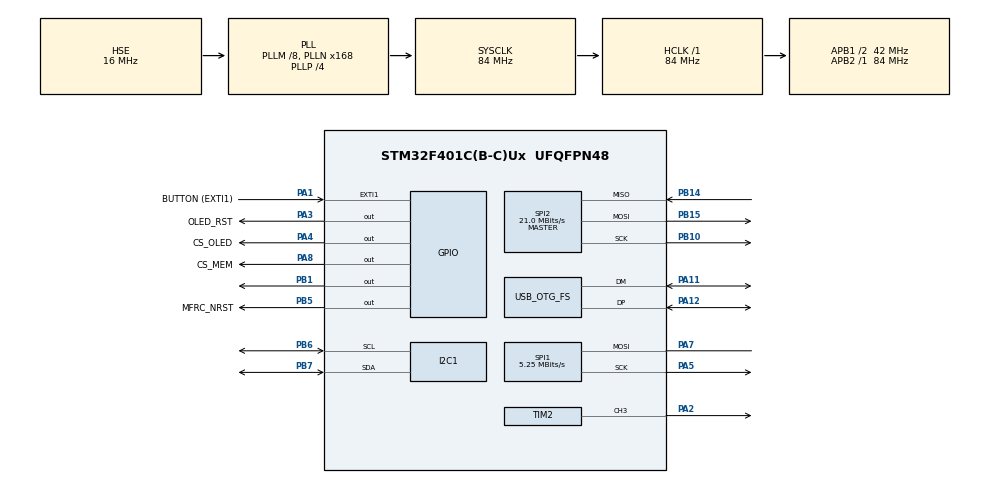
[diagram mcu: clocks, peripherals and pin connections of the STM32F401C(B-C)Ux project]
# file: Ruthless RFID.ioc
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FREERTOS.Queues01=UidtoFound,1,Card*,0,Dynamic,NULL,NULL;UserInput,1,uint8_t,0,Dynamic,NULL,NULL;FileEntry,1,uint16_t,0,Dynamic,NULL,NULL;KeyboardOut,1,char*,0,Dynamic,NULL,NULL;USBInput,1,char,0,Dynamic,NULL,NULL
FREERTOS.Tasks01=PERIPHINIT,40,512,Start_Init,Default,NULL,Dynamic,NULL,NULL;ReadCard,24,512,StartReadCard,Default,NULL,Dynamic,NULL,NULL;WriteCard,24,512,StartWriteCard,Default,NULL,Dynamic,NULL,NULL;Home,24,512,StartHome,Default,NULL,Dynamic,NULL,NULL;CardFound,24,512,CardFoundStart,Default,NULL,Dynamic,NULL,NULL;ShowFiles,24,512,StartShowFiles,Default,NULL,Dynamic,NULL,NULL;ShowFileData,24,512,StartShowFileData,Default,NULL,Dynamic,NULL,NULL;Clone,24,512,StartClone,Default,NULL,Dynamic,NULL,NULL;Keyboard,8,512,StartKeyboard,Default,NULL,Dynamic,NULL,NULL;DisplaySettings,24,512,StartDisplaySettings,Default,NULL,Dynamic,NULL,NULL;Stats,24,512,StartStats,Default,NULL,Dynamic,NULL,NULL;USBListen,24,512,StartUSBListen,Default,NULL,Dynamic,NULL,NULL
FREERTOS.configMAX_TASK_NAME_LEN=30
FREERTOS.configMINIMAL_STACK_SIZE=256
FREERTOS.configTOTAL_HEAP_SIZE=30000
Mcu.Family=STM32F4
Mcu.Name=STM32F401C(B-C)Ux
Mcu.Package=UFQFPN48
NVIC.EXTI1_IRQn=true\:5\:0\:false\:false\:true\:true\:true\:true\:true
NVIC.OTG_FS_IRQn=true\:5\:0\:false\:false\:true\:true\:false\:true\:true
NVIC.PriorityGroup=NVIC_PRIORITYGROUP_4
NVIC.TIM5_IRQn=true\:15\:0\:false\:false\:true\:false\:false\:true\:true
NVIC.TimeBase=TIM5_IRQn
NVIC.TimeBaseIP=TIM5
PA1.GPIO_Label=BUTTON (EXTI1)
PA1.GPIO_ModeDefaultEXTI=GPIO_MODE_IT_RISING_FALLING
PA1.Signal=GPXTI1
PA11.Mode=Device_Only
PA11.Signal=USB_OTG_FS_DM
PA12.Mode=Device_Only
PA12.Signal=USB_OTG_FS_DP
PA13.Mode=Serial_Wire
PA13.Signal=SYS_JTMS-SWDIO
PA14.Mode=Serial_Wire
PA14.Signal=SYS_JTCK-SWCLK
PA2.Signal=S_TIM2_CH3
PA3.GPIO_Label=OLED_RST
PA3.Signal=GPIO_Output
PA4.GPIO_Label=CS_OLED
PA4.Signal=GPIO_Output
PA5.Mode=Simplex_Bidirectional_Master
PA5.Signal=SPI1_SCK
PA7.Mode=Simplex_Bidirectional_Master
PA7.Signal=SPI1_MOSI
PA8.GPIO_Label=CS_MEM
PA8.Signal=GPIO_Output
PB1.Signal=GPIO_Output
PB10.Mode=Full_Duplex_Master
PB10.Signal=SPI2_SCK
PB14.Mode=Full_Duplex_Master
PB14.Signal=SPI2_MISO
PB15.Mode=Full_Duplex_Master
PB15.Signal=SPI2_MOSI
PB5.GPIO_Label=MFRC_NRST
PB5.Signal=GPIO_Output
PB6.Mode=I2C
PB6.Signal=I2C1_SCL
PB7.Mode=I2C
PB7.Signal=I2C1_SDA
PH0\ -\ OSC_IN.Mode=HSE-External-Oscillator
PH0\ -\ OSC_IN.Signal=RCC_OSC_IN
PH1\ -\ OSC_OUT.Mode=HSE-External-Oscillator
PH1\ -\ OSC_OUT.Signal=RCC_OSC_OUT
ProjectManager.HeapSize=0x200
ProjectManager.StackSize=0x400
ProjectManager.TargetToolchain=STM32CubeIDE
RCC.48MHZClocksFreq_Value=48000000
RCC.AHBFreq_Value=84000000
RCC.APB1CLKDivider=RCC_HCLK_DIV2
RCC.APB1Freq_Value=42000000
RCC.APB1TimFreq_Value=84000000
RCC.APB2Freq_Value=84000000
RCC.APB2TimFreq_Value=84000000
RCC.CortexFreq_Value=84000000
RCC.HCLKFreq_Value=84000000
RCC.HSE_VALUE=16000000
RCC.HSI_VALUE=16000000
RCC.LSE_VALUE=32768
RCC.PLLM=8
RCC.PLLN=168
RCC.PLLP=RCC_PLLP_DIV4
RCC.PLLQ=7
RCC.SYSCLKFreq_VALUE=84000000
RCC.SYSCLKSource=RCC_SYSCLKSOURCE_PLLCLK
RCC.VCOOutputFreq_Value=336000000
SH.S_TIM2_CH3.0=TIM2_CH3,PWM Generation3 CH3
SPI1.BaudRatePrescaler=SPI_BAUDRATEPRESCALER_16
SPI1.CalculateBaudRate=5.25 MBits/s
SPI1.Direction=SPI_DIRECTION_1LINE
SPI1.Mode=SPI_MODE_MASTER
SPI1.VirtualType=VM_MASTER
SPI2.CalculateBaudRate=21.0 MBits/s
SPI2.Direction=SPI_DIRECTION_2LINES
SPI2.Mode=SPI_MODE_MASTER
SPI2.VirtualType=VM_MASTER
TIM2.Channel-PWM\ Generation3\ CH3=TIM_CHANNEL_3
TIM2.Period=50-1
TIM2.Prescaler=420-1
TIM2.Pulse-PWM\ Generation3\ CH3=25-1
TIM3.Period=60000-1
TIM3.Prescaler=42000-1
USB_DEVICE.CLASS_NAME_FS=CDC
USB_DEVICE.VirtualMode=Cdc
USB_DEVICE.VirtualModeFS=Cdc_FS
USB_OTG_FS.VirtualMode=Device_Only
VP_FREERTOS_VS_CMSIS_V2.Mode=CMSIS_V2
VP_SYS_VS_tim5.Mode=TIM5
VP_TIM2_VS_ClockSourceINT.Mode=Internal
VP_TIM3_VS_ClockSourceINT.Mode=Internal
VP_USB_DEVICE_VS_USB_DEVICE_CDC_FS.Mode=CDC_FS
board=custom

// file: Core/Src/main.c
/* USER CODE BEGIN Header */
/**
  ******************************************************************************
  * @file           : main.c
  * @brief          : Main program body
  ******************************************************************************
  * @attention
  *
  * Copyright (c) 2024 STMicroelectronics.
  * All rights reserved.
  *
  * This software is licensed under terms that can be found in the LICENSE file
  * in the root directory of this software component.
  * If no LICENSE file comes with this software, it is provided AS-IS.
  *
  ******************************************************************************
  */
/* USER CODE END Header */
#include "main.h"
#include "cmsis_os.h"
#include "usb_device.h"

/* USER CODE BEGIN Includes */
#include "usbd_cdc_if.h"
#include "MFRC.h"
#include "OLED.h"
#include "queue.h"
#include "W25N01GVZEIG.h"
#include "ruthlessfs.h"
#include "button.h"
#include "commands.h"
#include "terminal.h"
/* USER CODE END Includes */

I2C_HandleTypeDef hi2c1;

SPI_HandleTypeDef hspi1;
SPI_HandleTypeDef hspi2;

TIM_HandleTypeDef htim2;
TIM_HandleTypeDef htim3;

/* Definitions for PERIPHINIT */
osThreadId_t PERIPHINITHandle;
const osThreadAttr_t PERIPHINIT_attributes = {
  .name = "PERIPHINIT",
  .stack_size = 512 * 4,
  .priority = (osPriority_t) osPriorityHigh,
};
/* Definitions for ReadCard */
osThreadId_t ReadCardHandle;
const osThreadAttr_t ReadCard_attributes = {
  .name = "ReadCard",
  .stack_size = 512 * 4,
  .priority = (osPriority_t) osPriorityNormal,
};
/* Definitions for WriteCard */
osThreadId_t WriteCardHandle;
const osThreadAttr_t WriteCard_attributes = {
  .name = "WriteCard",
  .stack_size = 512 * 4,
  .priority = (osPriority_t) osPriorityNormal,
};
/* Definitions for Home */
osThreadId_t HomeHandle;
const osThreadAttr_t Home_attributes = {
  .name = "Home",
  .stack_size = 512 * 4,
  .priority = (osPriority_t) osPriorityNormal,
};
/* Definitions for CardFound */
osThreadId_t CardFoundHandle;
const osThreadAttr_t CardFound_attributes = {
  .name = "CardFound",
  .stack_size = 512 * 4,
  .priority = (osPriority_t) osPriorityNormal,
};
/* Definitions for ShowFiles */
osThreadId_t ShowFilesHandle;
const osThreadAttr_t ShowFiles_attributes = {
  .name = "ShowFiles",
  .stack_size = 512 * 4,
  .priority = (osPriority_t) osPriorityNormal,
};
/* Definitions for ShowFileData */
osThreadId_t ShowFileDataHandle;
const osThreadAttr_t ShowFileData_attributes = {
  .name = "ShowFileData",
  .stack_size = 512 * 4,
  .priority = (osPriority_t) osPriorityNormal,
};
/* Definitions for Clone */
osThreadId_t CloneHandle;
const osThreadAttr_t Clone_attributes = {
  .name = "Clone",
  .stack_size = 512 * 4,
  .priority = (osPriority_t) osPriorityNormal,
};
/* Definitions for Keyboard */
osThreadId_t KeyboardHandle;
const osThreadAttr_t Keyboard_attributes = {
  .name = "Keyboard",
  .stack_size = 512 * 4,
  .priority = (osPriority_t) osPriorityLow,
};
/* Definitions for DisplaySettings */
osThreadId_t DisplaySettingsHandle;
const osThreadAttr_t DisplaySettings_attributes = {
  .name = "DisplaySettings",
  .stack_size = 512 * 4,
  .priority = (osPriority_t) osPriorityNormal,
};
/* Definitions for Stats */
osThreadId_t StatsHandle;
const osThreadAttr_t Stats_attributes = {
  .name = "Stats",
  .stack_size = 512 * 4,
  .priority = (osPriority_t) osPriorityNormal,
};
/* Definitions for USBListen */
osThreadId_t USBListenHandle;
const osThreadAttr_t USBListen_attributes = {
  .name = "USBListen",
  .stack_size = 512 * 4,
  .priority = (osPriority_t) osPriorityNormal,
};
/* Definitions for UidtoFound */
osMessageQueueId_t UidtoFoundHandle;
const osMessageQueueAttr_t UidtoFound_attributes = {
  .name = "UidtoFound"
};
/* Definitions for UserInput */
osMessageQueueId_t UserInputHandle;
const osMessageQueueAttr_t UserInput_attributes = {
  .name = "UserInput"
};
/* Definitions for FileEntry */
osMessageQueueId_t FileEntryHandle;
const osMessageQueueAttr_t FileEntry_attributes = {
  .name = "FileEntry"
};
/* Definitions for KeyboardOut */
osMessageQueueId_t KeyboardOutHandle;
const osMessageQueueAttr_t KeyboardOut_attributes = {
  .name = "KeyboardOut"
};
/* Definitions for USBInput */
osMessageQueueId_t USBInputHandle;
const osMessageQueueAttr_t USBInput_attributes = {
  .name = "USBInput"
};
/* USER CODE BEGIN PV */
char TC[]="HVE strongly condemns malicious use of it's products.The Ruthless RFID is sold as an educational device. HVE is not liable for damages caused by misuse.";

typedef struct {
	int id;
	char name[100];
}message;
/* USER CODE END PV */

void SystemClock_Config(void);
static void MX_GPIO_Init(void);
static void MX_I2C1_Init(void);
static void MX_SPI1_Init(void);
static void MX_SPI2_Init(void);
static void MX_TIM2_Init(void);
static void MX_TIM3_Init(void);
void Start_Init(void *argument);
void StartReadCard(void *argument);
void StartWriteCard(void *argument);
void StartHome(void *argument);
void CardFoundStart(void *argument);
void StartShowFiles(void *argument);
void StartShowFileData(void *argument);
void StartClone(void *argument);
void StartKeyboard(void *argument);
void StartDisplaySettings(void *argument);
void StartStats(void *argument);
void StartUSBListen(void *argument);

/* USER CODE BEGIN 0 */

void BUZZ(void){
	HAL_TIM_PWM_Start(&htim2, TIM_CHANNEL_3);
	HAL_Delay(1000);
	HAL_TIM_PWM_Stop(&htim2, TIM_CHANNEL_3);
}

void write_card(Card* towrite) {
	OLED_Clear();
	MFRC_ANTON();
	OLED_PrintCent(2, "Writing...", NORMAL);
	if (UL_writecard(towrite) == PCD_NO_PICC) {
		OLED_PrintCent(4, "ERROR: Couldn't find", NORMAL);
		OLED_PrintCent(6, "Card", NORMAL);
		MFRC_ANTOFF();
		osDelay(2000);
		vTaskResume(HomeHandle);
		vTaskSuspend(NULL);
	} else {
		MFRC_HALTA(); //Deselect card
		OLED_PrintCent(4,"Verifying...", NORMAL);
		if (UL_verify(towrite) == PCD_OK) {
			OLED_PrintCent(6, "Write verified :)", NORMAL);
		} else {
			OLED_PrintCent(6, "COULDN'T VERIFY", NORMAL);
		}
		MFRC_ANTOFF();
		osDelay(1000);
		vTaskResume(HomeHandle);
		vTaskSuspend(NULL);
	}
}

/* USER CODE END 0 */

int main(void)
{

  /* MCU Configuration--------------------------------------------------------*/

  /* Reset of all peripherals, Initializes the Flash interface and the Systick. */
  HAL_Init();

  /* Configure the system clock */
  SystemClock_Config();

  /* Initialize all configured peripherals */
  MX_GPIO_Init();
  MX_I2C1_Init();
  MX_SPI1_Init();
  MX_SPI2_Init();
  MX_TIM2_Init();
  MX_TIM3_Init();

  /* Init scheduler */
  osKernelInitialize();

  /* Create the queue(s) */
  /* creation of UidtoFound */
  UidtoFoundHandle = osMessageQueueNew (1, sizeof(Card*), &UidtoFound_attributes);

  /* creation of UserInput */
  UserInputHandle = osMessageQueueNew (1, sizeof(uint8_t), &UserInput_attributes);

  /* creation of FileEntry */
  FileEntryHandle = osMessageQueueNew (1, sizeof(uint16_t), &FileEntry_attributes);

  /* creation of KeyboardOut */
  KeyboardOutHandle = osMessageQueueNew (1, sizeof(char*), &KeyboardOut_attributes);

  /* creation of USBInput */
  USBInputHandle = osMessageQueueNew (1, sizeof(char), &USBInput_attributes);

  /* Create the thread(s) */
  /* creation of PERIPHINIT */
  PERIPHINITHandle = osThreadNew(Start_Init, NULL, &PERIPHINIT_attributes);

  /* creation of ReadCard */
  ReadCardHandle = osThreadNew(StartReadCard, NULL, &ReadCard_attributes);

  /* creation of WriteCard */
  WriteCardHandle = osThreadNew(StartWriteCard, NULL, &WriteCard_attributes);

  /* creation of Home */
  HomeHandle = osThreadNew(StartHome, NULL, &Home_attributes);

  /* creation of CardFound */
  CardFoundHandle = osThreadNew(CardFoundStart, NULL, &CardFound_attributes);

  /* creation of ShowFiles */
  ShowFilesHandle = osThreadNew(StartShowFiles, NULL, &ShowFiles_attributes);

  /* creation of ShowFileData */
  ShowFileDataHandle = osThreadNew(StartShowFileData, NULL, &ShowFileData_attributes);

  /* creation of Clone */
  CloneHandle = osThreadNew(StartClone, NULL, &Clone_attributes);

  /* creation of Keyboard */
  KeyboardHandle = osThreadNew(StartKeyboard, NULL, &Keyboard_attributes);

  /* creation of DisplaySettings */
  DisplaySettingsHandle = osThreadNew(StartDisplaySettings, NULL, &DisplaySettings_attributes);

  /* creation of Stats */
  StatsHandle = osThreadNew(StartStats, NULL, &Stats_attributes);

  /* creation of USBListen */
  USBListenHandle = osThreadNew(StartUSBListen, NULL, &USBListen_attributes);

  /* Start scheduler */
  osKernelStart();
  /* We should never get here as control is now taken by the scheduler */
  /* Infinite loop */
  while (1)
  {

  }
}

void SystemClock_Config(void)
{
  RCC_OscInitTypeDef RCC_OscInitStruct = {0};
  RCC_ClkInitTypeDef RCC_ClkInitStruct = {0};

  /** Configure the main internal regulator output voltage
  */
  __HAL_RCC_PWR_CLK_ENABLE();
  __HAL_PWR_VOLTAGESCALING_CONFIG(PWR_REGULATOR_VOLTAGE_SCALE2);

  /** Initializes the RCC Oscillators according to the specified parameters
  * in the RCC_OscInitTypeDef structure.
  */
  RCC_OscInitStruct.OscillatorType = RCC_OSCILLATORTYPE_HSE;
  RCC_OscInitStruct.HSEState = RCC_HSE_ON;
  RCC_OscInitStruct.PLL.PLLState = RCC_PLL_ON;
  RCC_OscInitStruct.PLL.PLLSource = RCC_PLLSOURCE_HSE;
  RCC_OscInitStruct.PLL.PLLM = 8;
  RCC_OscInitStruct.PLL.PLLN = 168;
  RCC_OscInitStruct.PLL.PLLP = RCC_PLLP_DIV4;
  RCC_OscInitStruct.PLL.PLLQ = 7;
  if (HAL_RCC_OscConfig(&RCC_OscInitStruct) != HAL_OK)
  {
    Error_Handler();
  }

  /** Initializes the CPU, AHB and APB buses clocks
  */
  RCC_ClkInitStruct.ClockType = RCC_CLOCKTYPE_HCLK|RCC_CLOCKTYPE_SYSCLK
                              |RCC_CLOCKTYPE_PCLK1|RCC_CLOCKTYPE_PCLK2;
  RCC_ClkInitStruct.SYSCLKSource = RCC_SYSCLKSOURCE_PLLCLK;
  RCC_ClkInitStruct.AHBCLKDivider = RCC_SYSCLK_DIV1;
  RCC_ClkInitStruct.APB1CLKDivider = RCC_HCLK_DIV2;
  RCC_ClkInitStruct.APB2CLKDivider = RCC_HCLK_DIV1;

  if (HAL_RCC_ClockConfig(&RCC_ClkInitStruct, FLASH_LATENCY_2) != HAL_OK)
  {
    Error_Handler();
  }
}

static void MX_I2C1_Init(void)
{

  hi2c1.Instance = I2C1;
  hi2c1.Init.ClockSpeed = 100000;
  hi2c1.Init.DutyCycle = I2C_DUTYCYCLE_2;
  hi2c1.Init.OwnAddress1 = 0;
  hi2c1.Init.AddressingMode = I2C_ADDRESSINGMODE_7BIT;
  hi2c1.Init.DualAddressMode = I2C_DUALADDRESS_DISABLE;
  hi2c1.Init.OwnAddress2 = 0;
  hi2c1.Init.GeneralCallMode = I2C_GENERALCALL_DISABLE;
  hi2c1.Init.NoStretchMode = I2C_NOSTRETCH_DISABLE;
  if (HAL_I2C_Init(&hi2c1) != HAL_OK)
  {
    Error_Handler();
  }

}

static void MX_SPI1_Init(void)
{

  /* SPI1 parameter configuration*/
  hspi1.Instance = SPI1;
  hspi1.Init.Mode = SPI_MODE_MASTER;
  hspi1.Init.Direction = SPI_DIRECTION_1LINE;
  hspi1.Init.DataSize = SPI_DATASIZE_8BIT;
  hspi1.Init.CLKPolarity = SPI_POLARITY_LOW;
  hspi1.Init.CLKPhase = SPI_PHASE_1EDGE;
  hspi1.Init.NSS = SPI_NSS_SOFT;
  hspi1.Init.BaudRatePrescaler = SPI_BAUDRATEPRESCALER_16;
  hspi1.Init.FirstBit = SPI_FIRSTBIT_MSB;
  hspi1.Init.TIMode = SPI_TIMODE_DISABLE;
  hspi1.Init.CRCCalculation = SPI_CRCCALCULATION_DISABLE;
  hspi1.Init.CRCPolynomial = 10;
  if (HAL_SPI_Init(&hspi1) != HAL_OK)
  {
    Error_Handler();
  }

}

static void MX_SPI2_Init(void)
{

  /* SPI2 parameter configuration*/
  hspi2.Instance = SPI2;
  hspi2.Init.Mode = SPI_MODE_MASTER;
  hspi2.Init.Direction = SPI_DIRECTION_2LINES;
  hspi2.Init.DataSize = SPI_DATASIZE_8BIT;
  hspi2.Init.CLKPolarity = SPI_POLARITY_LOW;
  hspi2.Init.CLKPhase = SPI_PHASE_1EDGE;
  hspi2.Init.NSS = SPI_NSS_SOFT;
  hspi2.Init.BaudRatePrescaler = SPI_BAUDRATEPRESCALER_2;
  hspi2.Init.FirstBit = SPI_FIRSTBIT_MSB;
  hspi2.Init.TIMode = SPI_TIMODE_DISABLE;
  hspi2.Init.CRCCalculation = SPI_CRCCALCULATION_DISABLE;
  hspi2.Init.CRCPolynomial = 10;
  if (HAL_SPI_Init(&hspi2) != HAL_OK)
  {
    Error_Handler();
  }

}

static void MX_TIM2_Init(void)
{

  TIM_ClockConfigTypeDef sClockSourceConfig = {0};
  TIM_MasterConfigTypeDef sMasterConfig = {0};
  TIM_OC_InitTypeDef sConfigOC = {0};

  htim2.Instance = TIM2;
  htim2.Init.Prescaler = 420-1;
  htim2.Init.CounterMode = TIM_COUNTERMODE_UP;
  htim2.Init.Period = 50-1;
  htim2.Init.ClockDivision = TIM_CLOCKDIVISION_DIV1;
  htim2.Init.AutoReloadPreload = TIM_AUTORELOAD_PRELOAD_DISABLE;
  if (HAL_TIM_Base_Init(&htim2) != HAL_OK)
  {
    Error_Handler();
  }
  sClockSourceConfig.ClockSource = TIM_CLOCKSOURCE_INTERNAL;
  if (HAL_TIM_ConfigClockSource(&htim2, &sClockSourceConfig) != HAL_OK)
  {
    Error_Handler();
  }
  if (HAL_TIM_PWM_Init(&htim2) != HAL_OK)
  {
    Error_Handler();
  }
  sMasterConfig.MasterOutputTrigger = TIM_TRGO_RESET;
  sMasterConfig.MasterSlaveMode = TIM_MASTERSLAVEMODE_DISABLE;
  if (HAL_TIMEx_MasterConfigSynchronization(&htim2, &sMasterConfig) != HAL_OK)
  {
    Error_Handler();
  }
  sConfigOC.OCMode = TIM_OCMODE_PWM1;
  sConfigOC.Pulse = 25-1;
  sConfigOC.OCPolarity = TIM_OCPOLARITY_HIGH;
  sConfigOC.OCFastMode = TIM_OCFAST_DISABLE;
  if (HAL_TIM_PWM_ConfigChannel(&htim2, &sConfigOC, TIM_CHANNEL_3) != HAL_OK)
  {
    Error_Handler();
  }
  HAL_TIM_MspPostInit(&htim2);

}

static void MX_TIM3_Init(void)
{

  TIM_ClockConfigTypeDef sClockSourceConfig = {0};
  TIM_MasterConfigTypeDef sMasterConfig = {0};

  htim3.Instance = TIM3;
  htim3.Init.Prescaler = 42000-1;
  htim3.Init.CounterMode = TIM_COUNTERMODE_UP;
  htim3.Init.Period = 60000-1;
  htim3.Init.ClockDivision = TIM_CLOCKDIVISION_DIV1;
  htim3.Init.AutoReloadPreload = TIM_AUTORELOAD_PRELOAD_DISABLE;
  if (HAL_TIM_Base_Init(&htim3) != HAL_OK)
  {
    Error_Handler();
  }
  sClockSourceConfig.ClockSource = TIM_CLOCKSOURCE_INTERNAL;
  if (HAL_TIM_ConfigClockSource(&htim3, &sClockSourceConfig) != HAL_OK)
  {
    Error_Handler();
  }
  sMasterConfig.MasterOutputTrigger = TIM_TRGO_RESET;
  sMasterConfig.MasterSlaveMode = TIM_MASTERSLAVEMODE_DISABLE;
  if (HAL_TIMEx_MasterConfigSynchronization(&htim3, &sMasterConfig) != HAL_OK)
  {
    Error_Handler();
  }

}

static void MX_GPIO_Init(void)
{
  GPIO_InitTypeDef GPIO_InitStruct = {0};

  /* GPIO Ports Clock Enable */
  __HAL_RCC_GPIOH_CLK_ENABLE();
  __HAL_RCC_GPIOA_CLK_ENABLE();
  __HAL_RCC_GPIOB_CLK_ENABLE();

  /*Configure GPIO pin Output Level */
  HAL_GPIO_WritePin(GPIOA, OLED_RST_Pin|CS_OLED_Pin|CS_MEM_Pin, GPIO_PIN_RESET);

  /*Configure GPIO pin Output Level */
  HAL_GPIO_WritePin(GPIOB, GPIO_PIN_1|MFRC_NRST_Pin, GPIO_PIN_RESET);

  /*Configure GPIO pin : BUTTON_Pin */
  GPIO_InitStruct.Pin = BUTTON_Pin;
  GPIO_InitStruct.Mode = GPIO_MODE_IT_RISING_FALLING;
  GPIO_InitStruct.Pull = GPIO_NOPULL;
  HAL_GPIO_Init(BUTTON_GPIO_Port, &GPIO_InitStruct);

  /*Configure GPIO pins : OLED_RST_Pin CS_OLED_Pin CS_MEM_Pin */
  GPIO_InitStruct.Pin = OLED_RST_Pin|CS_OLED_Pin|CS_MEM_Pin;
  GPIO_InitStruct.Mode = GPIO_MODE_OUTPUT_PP;
  GPIO_InitStruct.Pull = GPIO_NOPULL;
  GPIO_InitStruct.Speed = GPIO_SPEED_FREQ_LOW;
  HAL_GPIO_Init(GPIOA, &GPIO_InitStruct);

  /*Configure GPIO pins : PB1 MFRC_NRST_Pin */
  GPIO_InitStruct.Pin = GPIO_PIN_1|MFRC_NRST_Pin;
  GPIO_InitStruct.Mode = GPIO_MODE_OUTPUT_PP;
  GPIO_InitStruct.Pull = GPIO_NOPULL;
  GPIO_InitStruct.Speed = GPIO_SPEED_FREQ_LOW;
  HAL_GPIO_Init(GPIOB, &GPIO_InitStruct);

  /* EXTI interrupt init*/
  HAL_NVIC_SetPriority(EXTI1_IRQn, 5, 0);
  HAL_NVIC_EnableIRQ(EXTI1_IRQn);

}

/* USER CODE BEGIN 4 */
int _write(int file, char *ptr, int len) {
	HAL_Delay(1); //Need delay here
    CDC_Transmit_FS((uint8_t*) ptr, len);
    return len;
}
/* USER CODE END 4 */

void Start_Init(void *argument)
{
  /* init code for USB_DEVICE */
  MX_USB_DEVICE_Init();
  /* USER CODE BEGIN 5 */
  /* Infinite loop */
  for(;;)
  {
	vTaskSuspend(ReadCardHandle);
    vTaskSuspend(WriteCardHandle);
    vTaskSuspend(HomeHandle);
    vTaskSuspend(CardFoundHandle);
    vTaskSuspend(ShowFilesHandle);
    vTaskSuspend(ShowFileDataHandle);
    vTaskSuspend(CloneHandle);
    vTaskSuspend(KeyboardHandle);
    vTaskSuspend(DisplaySettingsHandle);
    vTaskSuspend(StatsHandle);

    setbuf(stdout, NULL);

    MFRC_INIT();
    MFRC_ANTOFF();
    OLED_INIT();
    OLED_Print(TC);
    MEM_INIT();

    while(HAL_GPIO_ReadPin(GPIOA, GPIO_PIN_1) != 0) {
    	osDelay(1);
    }
    osDelay(10);
    uint8_t clear = NO_PRESS;
    xQueueSend(UserInputHandle, &clear, 0);
    vTaskResume(HomeHandle);
    vTaskSuspend(NULL);
  }
  /* USER CODE END 5 */
}

void StartReadCard(void *argument)
{
  /* USER CODE BEGIN StartReadCard */
	Card* read_card = malloc(sizeof(Card)); //Store our read card here
	read_card->contents = malloc(UL_MEMSIZE * sizeof(uint8_t));
	read_card->uid = malloc(UL_UIDSIZE * sizeof(uint8_t));
	int ranonce = 0;
  /* Infinite loop */
  for(;;)
  {

	MFRC_ANTON();
	if (ranonce == 0){
		OLED_SCREEN(&SCRN_ReadCard, NORMAL);
		ranonce++;
	}
	if(UL_readcard(read_card) == PCD_OK){
			BUZZ();
			MFRC_ANTOFF();
			inc_read_count();
			xQueueSend(UidtoFoundHandle,&read_card,0);
			vTaskResume(CardFoundHandle);
			ranonce = 0;
			vTaskSuspend(NULL);
		}

	}
  /* USER CODE END StartReadCard */
}

void StartWriteCard(void *argument)
{
  /* USER CODE BEGIN StartWriteCard */
	uint8_t file_select_count = 0;
	int ranonce = 0;
	Button_StateTypeDef button_state;
	Card* towrite = NULL;
  /* Infinite loop */
  for(;;)
  {
	  if (ranonce == 0){
	  	OLED_SCREEN(&SCRN_WriteCard, NORMAL);
	  	ranonce++;

	  }

	  if (xQueueReceive(UserInputHandle, &button_state, 0) == pdTRUE) {
		  if (button_state == SHORT_PRESS) {
			  if (entry_present(file_select_count) == RFS_OK) {
				  towrite = read_card_entry(file_select_count);
				  char* file_name = get_file_name(file_select_count);
				  OLED_SCRNREF(&SCRN_WriteCard, WRITE_SRC_LOC, file_name);
				  free(file_name);
			  }

		  } else if ((button_state == LONG_PRESS) && (towrite != NULL)) {
			  	ranonce= 0;
			  	inc_write_count();
			  	write_card(towrite);
		  }
	  }

  }
  /* USER CODE END StartWriteCard */
}

void StartHome(void *argument)
{
  /* USER CODE BEGIN StartHome */
	uint8_t select_index = 0;
	int ranonce = 0;
	Button_StateTypeDef button_state;
  /* Infinite loop */
  for(;;)
  {
	  if (ranonce == 0) {
		  OLED_SCREEN(&SCRN_Home, NORMAL);
		  OLED_SELECT(&SCRN_Home, select_index, OLED_RESTORE);
		  ranonce++;
	  }

	  if (xQueueReceive(UserInputHandle, &button_state, 0) == pdTRUE) {
		  if (button_state == SHORT_PRESS) {
			  oled_move_selection(&SCRN_Home, &select_index, OLED_RESTORE);
		  } else if (button_state == LONG_PRESS) {
			  switch(select_index) {
			  	  case 0:
			  		  vTaskResume(ReadCardHandle);
			  		  break;
			  	  case 1:
			  		  vTaskResume(WriteCardHandle);
			  		  break;
			  	  case 2:
			  		  vTaskResume(ShowFilesHandle);
			  		  break;
			  	  case 3:
			  		  vTaskResume(CloneHandle);
			  		  break;
			  	  case 4:
			  		  vTaskResume(DisplaySettingsHandle);
			  		  break;
			  	  case 5:
			  		  vTaskResume(StatsHandle);
			  		  break;
			  }
			  ranonce = 0;
			  vTaskSuspend(NULL);
		  }
	  }

  }
  /* USER CODE END StartHome */
}

void CardFoundStart(void *argument)
{
  /* USER CODE BEGIN CardFoundStart */
	uint8_t select_index = 0;
	int ranonce = 0;
	Button_StateTypeDef button_state;
	Card* read_card;
	char* card_name = NULL;
  /* Infinite loop */
  for(;;)
  {

	if (ranonce == 0) {
		while(xQueueReceive(UidtoFoundHandle, &read_card, 0) != pdTRUE);
		char* uid_str = uid_tostring(read_card->uid, read_card->uidsize);
		OLED_SCREEN(&SCRN_CardFound, NORMAL);
		OLED_SCRNREF(&SCRN_CardFound, FOUND_UID_LOC, uid_str);
		OLED_SCRNREF(&SCRN_CardFound, FOUND_CARDTYPE_LOC, read_card->type);
		OLED_SELECT(&SCRN_CardFound, select_index, OLED_NORESTORE);
		ranonce++;
		free(uid_str);
	}

 	if (xQueueReceive(UserInputHandle, &button_state, 0) == pdTRUE) {
 		if (button_state == SHORT_PRESS) {
 			oled_move_selection(&SCRN_CardFound, &select_index, OLED_NORESTORE);
 		} else if (button_state == LONG_PRESS) {
 			if (select_index == 0) {

 				vTaskResume(KeyboardHandle);

 				while(xQueueReceive(KeyboardOutHandle, &card_name, 0) != pdTRUE) {
 					osDelay(1); //wait until keyboard is finished
 				}
 				enter_card(read_card, mem_find_free_block(), card_name);
 				free(card_name);
 			}
 			vTaskResume(HomeHandle);
 			ranonce = 0;
 			vTaskSuspend(NULL);
 		}
 	}

  }
  /* USER CODE END CardFoundStart */
}

void StartShowFiles(void *argument)
{
  /* USER CODE BEGIN StartShowFiles */
	uint8_t select_index = 0;
	int ranonce = 0;
	Button_StateTypeDef button_state;
	uint16_t current_page = 0;
	/* Infinite loop */
  for(;;)
  {

	  if (ranonce == 0) {
		  OLED_SCREEN(&SCRN_ShowFiles, NORMAL);
		  OLED_SELECT(&SCRN_ShowFiles, select_index, OLED_RESTORE);
		  OLED_display_files(&SCRN_ShowFiles, current_page);
		  ranonce++;
	  }

	  if (xQueueReceive(UserInputHandle, &button_state, 0) == pdTRUE) {
		  if (button_state == SHORT_PRESS) {

			  oled_move_selection(&SCRN_ShowFiles, &select_index, OLED_RESTORE);

		  } else if (button_state == LONG_PRESS) {

			  if (select_index == SHOWFILES_EXIT_LOC) {
				  vTaskResume(HomeHandle);
				  ranonce = 0;
				  current_page = 0;
				  vTaskSuspend(NULL);

			  } else if ((select_index == SHOWFILES_NEXT_LOC) && (get_number_files_section(FILES_PERSCREEN * (current_page + 1), FILES_PERSCREEN) != 0)) {
				  OLED_SCREEN(&SCRN_ShowFiles, NORMAL);
				  OLED_SELECT(&SCRN_ShowFiles, select_index, OLED_RESTORE);
				  OLED_display_files(&SCRN_ShowFiles, ++current_page);
			  } else if ((entry_present(select_index + (FILES_PERSCREEN * current_page)) == RFS_OK)) {
				  uint16_t entry = select_index + (FILES_PERSCREEN * current_page);
				  xQueueSend(FileEntryHandle, &entry, 0);
				  vTaskResume(ShowFileDataHandle);
				  ranonce = 0;
				  vTaskSuspend(NULL);

			  }

		  }
	  }

  }
  /* USER CODE END StartShowFiles */
}

void StartShowFileData(void *argument)
{
  /* USER CODE BEGIN StartShowFileData */
	uint8_t select_index = 0;
	int ranonce = 0;
	Button_StateTypeDef button_state;
	uint16_t entry_to_show;
  /* Infinite loop */
  for(;;)
  {

    if (ranonce == 0) {
    	while(xQueueReceive(FileEntryHandle, &entry_to_show, 0) != pdTRUE);
    	oled_show_file(entry_to_show);
    	ranonce++;
    }

    if (xQueueReceive(UserInputHandle, &button_state, 0) == pdTRUE) {
    	if (button_state == SHORT_PRESS) {
    		oled_move_selection(&SCRN_FileData, &select_index, OLED_NORESTORE);
    	} else if (button_state == LONG_PRESS) {
    		if (select_index == SHOWFILE_DELETE_LOC) {
    			remove_card(entry_to_show);
    		}
    		vTaskResume(ShowFilesHandle);
    		ranonce = 0;
    		vTaskSuspend(NULL);
    	}
    }
  }
  /* USER CODE END StartShowFileData */
}

void StartClone(void *argument)
{
  /* USER CODE BEGIN StartClone */
	int ranonce = 0;
	Card* read_card = malloc(sizeof(Card)); //Store our read card here
	read_card->contents = malloc(UL_MEMSIZE * sizeof(uint8_t));
	read_card->uid = malloc(UL_UIDSIZE * sizeof(uint8_t));
  /* Infinite loop */
  for(;;)
  {
	MFRC_ANTON();
    if (ranonce == 0) {
    	OLED_SCREEN(&SCRN_Clone, NORMAL);
    	ranonce++;
    }

    if (UL_readcard(read_card) == PCD_OK) {
    	MFRC_HALTA(); //De-select card
    	BUZZ();
    	OLED_Clear();
    	OLED_PrintCent(2, "PLACE CARD YOU WISH", NORMAL);
    	OLED_PrintCent(4, "TO COPY TO", NORMAL);
    	while(PICC_CHECK() == PCD_OK); //Hang until read card is removed
    	while(PICC_CHECK() != PCD_OK); //Hang until new card is placed
    	ranonce = 0;
    	write_card(read_card);
    }
  }
  /* USER CODE END StartClone */
}

void StartKeyboard(void *argument)
{
  /* USER CODE BEGIN StartKeyboard */
	uint8_t select_index = 0;
	int ranonce = 0;
	Button_StateTypeDef button_state;
	char* input = NULL;
  /* Infinite loop */
  for(;;)
  {
    if (ranonce == 0) {
    	OLED_Clear();
    	OLED_SCREEN(&SCRN_Keyboard, NORMAL);
    	OLED_select_inv(&SCRN_Keyboard, select_index);
    	ranonce++;
    }

    if (xQueueReceive(UserInputHandle, &button_state, 0) == pdTRUE) {
    	if (button_state == SHORT_PRESS) {
    		oled_move_selection_inv(&SCRN_Keyboard, &select_index);
    	} else if (button_state == LONG_PRESS) {
    		if ((select_index <= 25) && (select_index >= 0)) {
    			oled_keyboard_insertChar(select_index, &input);
    		} else if (select_index == 26) {
    			oled_keyboard_removeChar(&input);
    		} else if (select_index == 27) {
    			xQueueSend(KeyboardOutHandle, &input, 0); //Send the name user has inputted to queue for other tasks to use
    			ranonce = 0;
    			input = NULL;
    			vTaskSuspend(NULL); //exit task
    		}

    	}
    }
  }
  /* USER CODE END StartKeyboard */
}

void StartDisplaySettings(void *argument)
{
  /* USER CODE BEGIN StartDisplaySettings */
	uint8_t select_index = 0;
	int ranonce = 0;
	Button_StateTypeDef button_state;
	uint16_t current_contrast = 0xFF; //max contrast by default
  /* Infinite loop */
  for(;;)
  {
    if (ranonce == 0) {
    	OLED_SCREEN(&SCRN_Display, NORMAL);
    	OLED_select_inv(&SCRN_Display, select_index);
    	ranonce++;
    }

    if (xQueueReceive(UserInputHandle, &button_state, 0) == pdTRUE) {
    	if (button_state == SHORT_PRESS) {
    		oled_move_selection_inv(&SCRN_Display, &select_index);
    	} else if (button_state == LONG_PRESS) {
    		if (select_index == 0) {

    			if (current_contrast + CONTRAST_STEPSIZE <= 0xFF) {
    				current_contrast += CONTRAST_STEPSIZE;
    			}
    			oled_set_contrast(current_contrast);

    		} else if (select_index == 1) {

    			if (current_contrast >= CONTRAST_STEPSIZE) {
    				current_contrast -= CONTRAST_STEPSIZE;
    			}
    			oled_set_contrast(current_contrast);

    		} else if (select_index == 2) {
    			vTaskResume(HomeHandle);
    			ranonce = 0;
    			vTaskSuspend(NULL);
    		}
    	}
    }
  }
  /* USER CODE END StartDisplaySettings */
}

void StartStats(void *argument)
{
  /* USER CODE BEGIN StartStats */
	uint8_t select_index = 0;
	int ranonce = 0;
	Button_StateTypeDef button_state;
  /* Infinite loop */
  for(;;)
  {
    if (ranonce == 0) {
    	OLED_SCREEN(&SCRN_Stats, NORMAL);
    	OLED_SELECT(&SCRN_Stats, select_index, OLED_NORESTORE);
    	oled_show_stats();
    	ranonce++;
    }

    if (xQueueReceive(UserInputHandle, &button_state, 0) == pdTRUE) {
    	if (button_state == LONG_PRESS) {
    		vTaskResume(HomeHandle);
    		ranonce = 0;
    		vTaskSuspend(NULL);
    	}
    }
  }
  /* USER CODE END StartStats */
}

void StartUSBListen(void *argument)
{
  /* USER CODE BEGIN StartUSBListen */
	char* command = NULL;
	char input;
	uint8_t initialised = 0;
  /* Infinite loop */
  for(;;)
  {
	  if (xQueueReceive(USBInputHandle, &input, 0) == pdTRUE) {
		  if (((uint8_t)input == 0x0D) && initialised) {
		  		cmd_parse(command);
		  		command = NULL;
		  		set_colour(FG_BRIGHTGREEN);
		  		printf("\n\ruser@ruthless/ ");
		  		set_colour(FG_WHITE);
		  } else if (initialised){
		  		cmd_build(&command, input);
		  }

		  if ((input == 'i') && (initialised == 0)) {
			  initialised++;
			  terminal_init();
			  set_colour(FG_BRIGHTGREEN);
			  printf("\n\ruser@ruthless/ ");
			  set_colour(FG_WHITE);
		  }

	  }
	  osDelay(1);
  }
  /* USER CODE END StartUSBListen */
}

void HAL_TIM_PeriodElapsedCallback(TIM_HandleTypeDef *htim)
{
  if (htim->Instance == TIM5) {
    HAL_IncTick();
  }
}

void Error_Handler(void)
{
  __disable_irq();
  while (1)
  {
  }
}
